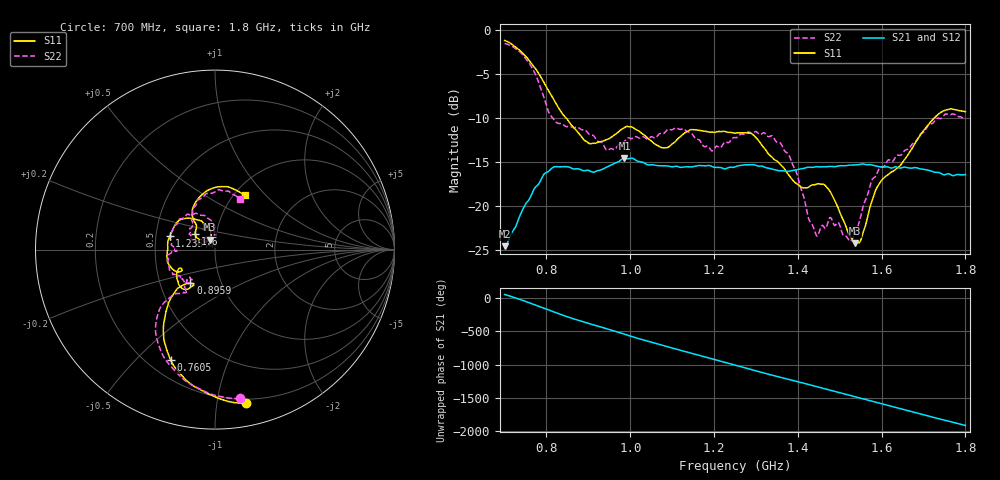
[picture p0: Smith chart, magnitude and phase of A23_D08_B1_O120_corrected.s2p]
! Created with skrf 1.9.0 (http://scikit-rf.org).
# Hz S RI R 50.0
!freq ReS11 ImS11 ReS21 ImS21 ReS12 ImS12 ReS22 ImS22
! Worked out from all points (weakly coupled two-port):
!   1601 points, 700 MHz to 1.8 GHz, reference 50 ohm
!   highest |S21| = -14.54 dB at 986 MHz (marker M1); lowest = -24.6 dB at 700 MHz (marker M2)
!   lowest |S11| = -24.2 dB at 1.536 GHz (marker M3), VSWR 1.13, Z = 47.1 + j5.2 ohm
!   |S11| at or under -10 dB: 847.3 MHz to 1.725 GHz (877.9 MHz wide, 68.3 % of centre)
!   |S22| runs from -24.0 to -1.5 dB; largest |S21 - S12| = 0.0036
!   S11 on the Smith chart (normalised r, x): 700 MHz: 0.17, -1.21; 760.5 MHz: 0.29, -0.64; 895.9 MHz: 0.71, -0.28; 1.235 GHz: 0.59, +0.09; 1.6 GHz: 0.79, +0.14; 1.8 GHz: 1.12, +0.77
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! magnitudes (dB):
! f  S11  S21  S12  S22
! 700 MHz  -1.2  -24.6  -24.3  -1.5
! 760.5 MHz  -3.6  -19.1  -18.9  -3.9
! 815.5 MHz  -7.7  -15.6  -15.7  -10.0
! 883.6 MHz  -12.1  -15.9  -15.8  -11.3
! 895.9 MHz  -12.7  -15.9  -16.0  -11.5
! 945.4 MHz  -12.4  -15.5  -15.5  -13.6
! 986 MHz  -11.1  -14.5  -14.6  -12.7
! 1.067 GHz  -13.2  -15.4  -15.3  -11.9
! 1.235 GHz  -11.6  -15.6  -15.7  -12.8
! 1.25 GHz  -11.7  -15.5  -15.5  -12.2
! 1.292 GHz  -11.8  -15.3  -15.3  -11.7
! 1.359 GHz  -15.3  -16.0  -16.0  -12.9
! 1.395 GHz  -17.4  -15.9  -15.9  -16.0
! 1.434 GHz  -17.6  -15.6  -15.6  -22.0
! 1.447 GHz  -17.5  -15.5  -15.5  -23.4
! 1.473 GHz  -18.1  -15.5  -15.5  -21.6
! 1.536 GHz  -24.2  -15.3  -15.3  -23.1
! 1.55 GHz  -23.8  -15.2  -15.3  -21.1
! 1.6 GHz  -17.1  -15.6  -15.5  -15.5
! 1.617 GHz  -16.4  -15.6  -15.5  -14.7
! 1.734 GHz  -9.6  -16.2  -16.2  -10.0
! 1.8 GHz  -9.3  -16.4  -16.4  -10.1
